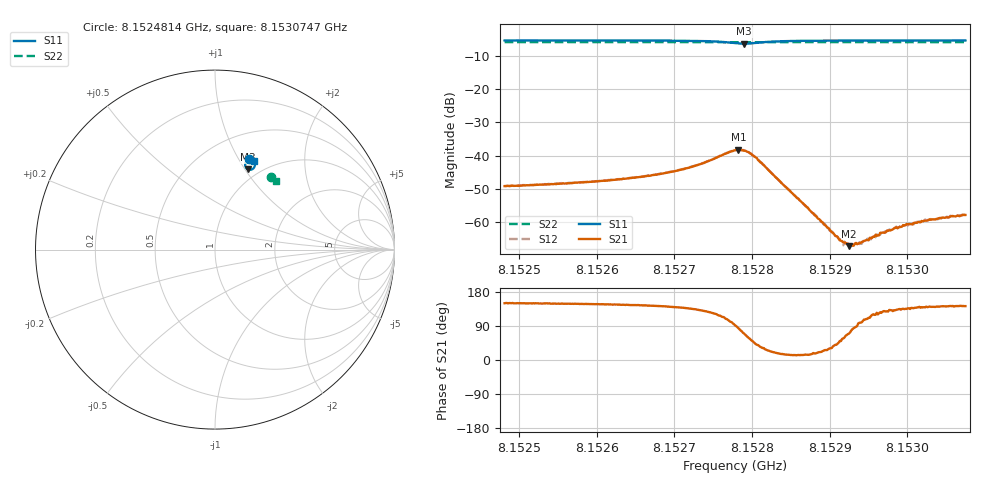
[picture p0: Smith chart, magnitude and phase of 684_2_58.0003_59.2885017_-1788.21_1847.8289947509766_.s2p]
#  HZ  S  RI  R  50.00
! Rohde & Schwarz Vector Network Analyzer
! Rohde-Schwarz,ZNB20-2Port,1311601062101988,3.16
! Created: UTC 3/21/2024, 1:20:59 AM
! freq[Hz]  re:S11  im:S11  re:S21  im:S21  re:S12  im:S12  re:S22  im:S22
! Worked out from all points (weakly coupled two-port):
!   401 points, 8.1524814 GHz to 8.1530747 GHz, reference 50 ohm
!   highest |S21| = -38.24 dB at 8.1527825 GHz (marker M1); lowest = -67.2 dB at 8.1529249 GHz (marker M2)
!   lowest |S11| = -6.3 dB at 8.1527899 GHz (marker M3), VSWR 2.87, Z = 44.3 + j51.7 ohm
!   |S11| at or under -10 dB: nowhere
!   |S22| runs from -5.9 to -5.8 dB; largest |S21 - S12| = 0.00042
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8.15248142e9  0.19 0.5061  -0.00301 0.00175  -0.00301 0.00177  0.3102 0.4062
8.15258079e9  0.1986 0.5026  -0.00337 0.0021  -0.00334 0.00217  0.3153 0.4022
8.15263418e9  0.2042 0.4998  -0.00371 0.00251  -0.00369 0.00258  0.3178 0.4
8.15268016e9  0.2102 0.4958  -0.00416 0.00321  -0.00414 0.00334  0.3202 0.398
8.15272613e9  0.2184 0.4867  -0.00488 0.00501  -0.00482 0.00515  0.3226 0.3957
8.15277804e9  0.2071 0.4476  -0.000366 0.012  -0.000152 0.0121  0.3239 0.3925
8.15278249e9  0.1992 0.445  0.00138 0.0122  0.00153 0.0122  0.3237 0.3923
8.15278991e9  0.1848 0.4468  0.00415 0.0111  0.00447 0.0112  0.3236 0.3922
8.15279732e9  0.1734 0.4557  0.00612 0.00898  0.00631 0.00888  0.3238 0.3926
8.15280622e9  0.1681 0.4696  0.00701 0.0059  0.00688 0.00577  0.3242 0.3928
8.15283292e9  0.1779 0.493  0.00423 0.00137  0.00425 0.0013  0.3262 0.3924
8.15287741e9  0.1936 0.4994  0.00133 0.000384  0.00132 0.000388  0.3289 0.3905
8.15291449e9  0.201 0.4994  0.000346 0.000414  0.000337 0.000416  0.3308 0.3889
8.15292042e9  0.2018 0.4993  0.000217 0.000437  0.000232 0.000418  0.3311 0.3886
8.15292487e9  0.2027 0.4993  0.000149 0.000411  0.000164 0.000468  0.3315 0.3885
8.15292783e9  0.2031 0.4992  9.45e-05 0.000454  7.85e-05 0.000427  0.3315 0.3883
8.1529308e9  0.2035 0.4991  4.79e-05 0.000438  6.7e-05 0.00046  0.3317 0.3883
8.15293822e9  0.2045 0.4989  -6.77e-05 0.000474  -9.61e-05 0.000488  0.332 0.3878
8.15297678e9  0.2091 0.4979  -0.000504 0.000557  -0.000493 0.000595  0.3339 0.3862
8.15299754e9  0.2112 0.4972  -0.000643 0.000639  -0.000645 0.000616  0.3349 0.3853
8.15302127e9  0.2134 0.4967  -0.000796 0.00068  -0.000794 0.000671  0.3361 0.3843
8.15307466e9  0.2182 0.495  -0.00101 0.000784  -0.00105 0.000786  0.3387 0.3819
